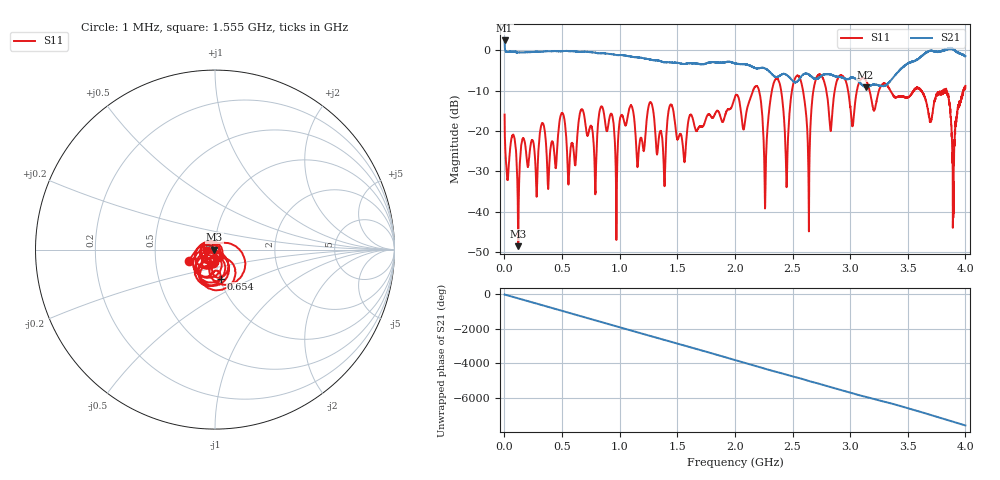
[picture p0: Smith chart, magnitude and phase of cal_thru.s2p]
!Created with skrf (http://scikit-rf.org).
# GHz S RI R 50.0
!freq ReS11 ImS11 ReS21 ImS21 ReS12 ImS12 ReS22 ImS22
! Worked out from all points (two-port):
!   4000 points, 1 MHz to 4 GHz, reference 50 ohm
!   highest |S21| = 2.41 dB at 1 MHz (marker M1); lowest = -9.2 dB at 3.134 GHz (marker M2)
!   |S21| within 3 dB of the highest: 104.1 MHz to 777.7 MHz (673.5 MHz wide, 153 % of centre); 3.663 GHz to 3.931 GHz (267.8 MHz wide, 7.05 % of centre) (the widest 2 of 10)
!   lowest |S11| = -48.5 dB at 119 MHz (marker M3), VSWR 1.01, Z = 49.6 + j0.0321 ohm
!   |S11| at or under -10 dB: start of sweep to 2.157 GHz; 3.349 GHz to 3.552 GHz (203.1 MHz wide, 5.89 % of centre); 3.617 GHz to 3.809 GHz (191.7 MHz wide, 5.16 % of centre) (the widest 3 of 18)
!   S12 and S22 are empty: the file has one direction only
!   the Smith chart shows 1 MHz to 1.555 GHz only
!   S11 on the Smith chart (normalised r, x): 1 MHz: 0.74, -0.09; 654 MHz: 1.01, -0.34; 1.555 GHz: 0.90, -0.01
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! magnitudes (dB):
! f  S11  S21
! 1 MHz  -15.9  2.4
! 119 MHz  -48.5  -0.6
! 654 MHz  -15.7  -0.4
! 668 MHz  -14.7  -0.4
! 785 MHz  -31.6  -0.6
! 842 MHz  -13.9  -0.7
! 1.334 GHz  -23.4  -2.5
! 1.446 GHz  -13.5  -3.0
! 1.555 GHz  -26.0  -3.4
! 2.001 GHz  -11.5  -3.3
! 2.198 GHz  -9.1  -4.5
! 2.263 GHz  -37.2  -4.5
! 2.354 GHz  -7.1  -6.6
! 2.447 GHz  -33.4  -6.1
! 2.528 GHz  -6.6  -7.9
! 2.637 GHz  -29.0  -5.9
! 2.667 GHz  -13.5  -6.5
! 3.134 GHz  -7.3  -9.2
! 3.334 GHz  -9.3  -8.1
! 3.831 GHz  -10.4  0.2
! 3.896 GHz  -32.5  0.1
! 4 GHz  -8.8  -1.5
